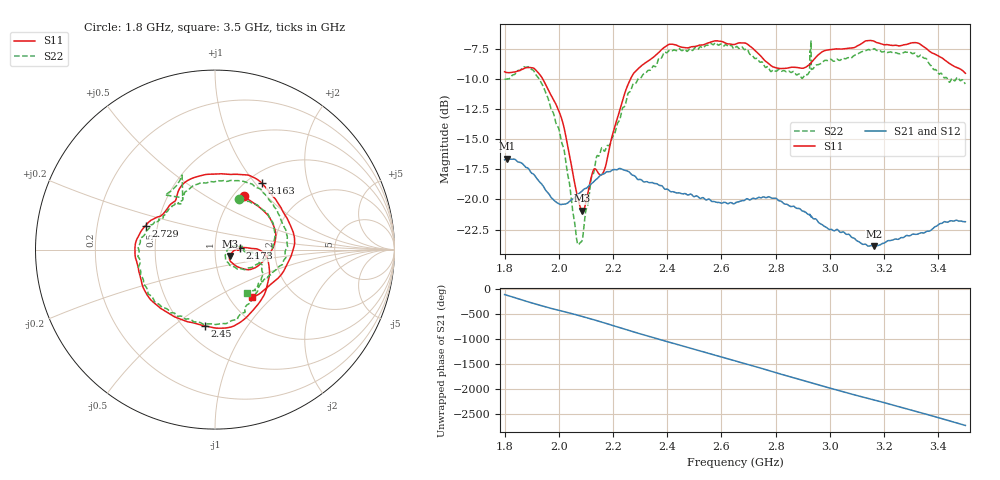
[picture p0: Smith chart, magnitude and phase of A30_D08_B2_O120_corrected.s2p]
! Created with skrf 1.9.0 (http://scikit-rf.org).
# Hz S RI R 50.0
!freq ReS11 ImS11 ReS21 ImS21 ReS12 ImS12 ReS22 ImS22
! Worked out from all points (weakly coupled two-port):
!   1601 points, 1.8 GHz to 3.5 GHz, reference 50 ohm
!   highest |S21| = -16.62 dB at 1.811 GHz (marker M1); lowest = -23.9 dB at 3.164 GHz (marker M2)
!   lowest |S11| = -20.9 dB at 2.087 GHz (marker M3), VSWR 1.20, Z = 58.8 - j4.23 ohm
!   |S11| at or under -10 dB: 1.941 GHz to 2.265 GHz (323.9 MHz wide, 15.4 % of centre)
!   |S22| runs from -23.8 to -6.9 dB; largest |S21 - S12| = 0.0028
!   S11 on the Smith chart (normalised r, x): 1.8 GHz: 1.12, +0.75; 2.173 GHz: 1.32, +0.03; 2.45 GHz: 0.63, -0.66; 2.729 GHz: 0.43, +0.14; 3.163 GHz: 1.16, +1.08; 3.5 GHz: 1.27, -0.75
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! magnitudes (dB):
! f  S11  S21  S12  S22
! 1.8 GHz  -9.4  -16.7  -16.7  -10.0
! 1.811 GHz  -9.5  -16.6  -16.6  -10.0
! 1.886 GHz  -9.1  -17.4  -17.5  -9.0
! 1.941 GHz  -10.0  -18.9  -18.9  -10.6
! 2.011 GHz  -13.4  -20.4  -20.4  -15.3
! 2.066 GHz  -19.4  -19.7  -19.7  -23.3
! 2.084 GHz  -20.9  -19.3  -19.3  -23.5
! 2.087 GHz  -20.9  -19.3  -19.3  -23.3
! 2.136 GHz  -17.5  -18.4  -18.4  -16.8
! 2.173 GHz  -17.2  -17.8  -17.8  -15.8
! 2.262 GHz  -10.1  -17.8  -17.8  -11.1
! 2.367 GHz  -7.8  -18.8  -18.7  -8.4
! 2.45 GHz  -7.4  -19.5  -19.5  -7.6
! 2.65 GHz  -7.1  -20.3  -20.3  -7.4
! 2.729 GHz  -7.7  -19.9  -20.0  -8.3
! 2.898 GHz  -9.1  -20.9  -21.0  -10.0
! 2.934 GHz  -8.6  -21.5  -21.4  -9.2
! 3.163 GHz  -6.9  -23.9  -23.8  -7.5
! 3.164 GHz  -6.9  -23.9  -23.8  -7.5
! 3.217 GHz  -7.2  -23.4  -23.4  -7.8
! 3.325 GHz  -7.0  -22.9  -22.8  -8.2
! 3.5 GHz  -9.5  -21.8  -21.8  -10.4
